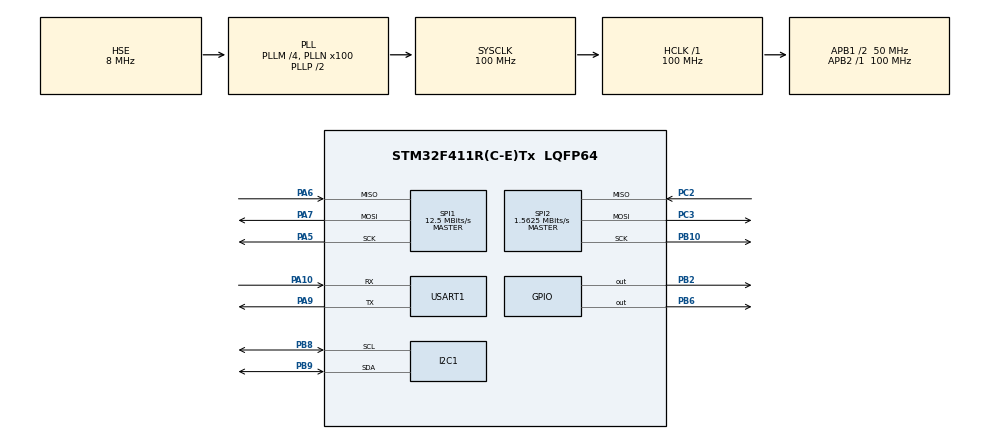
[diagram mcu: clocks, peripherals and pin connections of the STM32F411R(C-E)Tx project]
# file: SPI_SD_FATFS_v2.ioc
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Dma.I2C1_RX.0.Direction=DMA_PERIPH_TO_MEMORY
Dma.I2C1_RX.0.FIFOMode=DMA_FIFOMODE_DISABLE
Dma.I2C1_RX.0.Instance=DMA1_Stream0
Dma.I2C1_RX.0.MemDataAlignment=DMA_MDATAALIGN_BYTE
Dma.I2C1_RX.0.MemInc=DMA_MINC_ENABLE
Dma.I2C1_RX.0.Mode=DMA_NORMAL
Dma.I2C1_RX.0.PeriphDataAlignment=DMA_PDATAALIGN_BYTE
Dma.I2C1_RX.0.PeriphInc=DMA_PINC_DISABLE
Dma.I2C1_RX.0.Priority=DMA_PRIORITY_LOW
Dma.I2C1_TX.1.Direction=DMA_MEMORY_TO_PERIPH
Dma.I2C1_TX.1.FIFOMode=DMA_FIFOMODE_DISABLE
Dma.I2C1_TX.1.Instance=DMA1_Stream1
Dma.I2C1_TX.1.MemDataAlignment=DMA_MDATAALIGN_BYTE
Dma.I2C1_TX.1.MemInc=DMA_MINC_ENABLE
Dma.I2C1_TX.1.Mode=DMA_NORMAL
Dma.I2C1_TX.1.PeriphDataAlignment=DMA_PDATAALIGN_BYTE
Dma.I2C1_TX.1.PeriphInc=DMA_PINC_DISABLE
Dma.I2C1_TX.1.Priority=DMA_PRIORITY_LOW
Dma.Request0=I2C1_RX
Dma.Request1=I2C1_TX
FATFS._MAX_SS=4096
FATFS._USE_LFN=1
I2C1.I2C_Mode=I2C_Fast
Mcu.Family=STM32F4
Mcu.Name=STM32F411R(C-E)Tx
Mcu.Package=LQFP64
NVIC.DMA1_Stream0_IRQn=true\:0\:0\:false\:false\:true\:false\:true
NVIC.DMA1_Stream1_IRQn=true\:0\:0\:false\:false\:true\:false\:true
NVIC.I2C1_ER_IRQn=true\:0\:0\:false\:false\:true\:true\:true
NVIC.I2C1_EV_IRQn=true\:0\:0\:false\:false\:true\:true\:true
NVIC.PriorityGroup=NVIC_PRIORITYGROUP_4
NVIC.USART1_IRQn=true\:0\:0\:false\:false\:true\:true\:true
PA10.Mode=Asynchronous
PA10.Signal=USART1_RX
PA13.Mode=Serial_Wire
PA13.Signal=SYS_JTMS-SWDIO
PA14.Mode=Serial_Wire
PA14.Signal=SYS_JTCK-SWCLK
PA5.Mode=Full_Duplex_Master
PA5.Signal=SPI1_SCK
PA6.Mode=Full_Duplex_Master
PA6.Signal=SPI1_MISO
PA7.Mode=Full_Duplex_Master
PA7.Signal=SPI1_MOSI
PA9.Mode=Asynchronous
PA9.Signal=USART1_TX
PB10.Mode=Full_Duplex_Master
PB10.Signal=SPI2_SCK
PB2.Signal=GPIO_Output
PB6.Signal=GPIO_Output
PB8.Mode=I2C
PB8.Signal=I2C1_SCL
PB9.Mode=I2C
PB9.Signal=I2C1_SDA
PC2.Mode=Full_Duplex_Master
PC2.Signal=SPI2_MISO
PC3.Mode=Full_Duplex_Master
PC3.Signal=SPI2_MOSI
PH0\ -\ OSC_IN.Mode=HSE-External-Oscillator
PH0\ -\ OSC_IN.Signal=RCC_OSC_IN
PH1\ -\ OSC_OUT.Mode=HSE-External-Oscillator
PH1\ -\ OSC_OUT.Signal=RCC_OSC_OUT
ProjectManager.HeapSize=0x400
ProjectManager.StackSize=0x800
ProjectManager.TargetToolchain=STM32CubeIDE
RCC.48MHZClocksFreq_Value=50000000
RCC.AHBFreq_Value=100000000
RCC.APB1CLKDivider=RCC_HCLK_DIV2
RCC.APB1Freq_Value=50000000
RCC.APB1TimFreq_Value=100000000
RCC.APB2Freq_Value=100000000
RCC.APB2TimFreq_Value=100000000
RCC.CortexFreq_Value=100000000
RCC.HCLKFreq_Value=100000000
RCC.HSE_VALUE=8000000
RCC.HSI_VALUE=16000000
RCC.LSE_VALUE=32768
RCC.PLLM=4
RCC.PLLN=100
RCC.PLLSourceVirtual=RCC_PLLSOURCE_HSE
RCC.SYSCLKFreq_VALUE=100000000
RCC.SYSCLKSource=RCC_SYSCLKSOURCE_PLLCLK
RCC.VCOOutputFreq_Value=200000000
SPI1.BaudRatePrescaler=SPI_BAUDRATEPRESCALER_8
SPI1.CalculateBaudRate=12.5 MBits/s
SPI1.Direction=SPI_DIRECTION_2LINES
SPI1.Mode=SPI_MODE_MASTER
SPI1.VirtualType=VM_MASTER
SPI2.BaudRatePrescaler=SPI_BAUDRATEPRESCALER_32
SPI2.CLKPhase=SPI_PHASE_2EDGE
SPI2.CLKPolarity=SPI_POLARITY_HIGH
SPI2.CalculateBaudRate=1.5625 MBits/s
SPI2.Direction=SPI_DIRECTION_2LINES
SPI2.Mode=SPI_MODE_MASTER
SPI2.VirtualType=VM_MASTER
USART1.VirtualMode=VM_ASYNC
VP_FATFS_VS_Generic.Mode=User_defined
board=custom

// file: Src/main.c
/* USER CODE BEGIN Header */
/**
 ******************************************************************************
 * @file           : main.c
 * @brief          : Main program body
 ******************************************************************************
 * @attention
 *
 * <h2><center>&copy; Copyright (c) 2021 STMicroelectronics.
 * All rights reserved.</center></h2>
 *
 * This software component is licensed by ST under Ultimate Liberty license
 * SLA0044, the "License"; You may not use this file except in compliance with
 * the License. You may obtain a copy of the License at:
 *                             www.st.com/SLA0044
 *
 ******************************************************************************
 */
/* USER CODE END Header */
#include "main.h"
#include "fatfs.h"

/* USER CODE BEGIN Includes */
#include "fatfs_sd.h"
#include <string.h>
#include <stdio.h>
/* USER CODE END Includes */

/* USER CODE BEGIN PM */
#define DEBUG_OUT	0
/* USER CODE END PM */

I2C_HandleTypeDef hi2c1;
DMA_HandleTypeDef hdma_i2c1_rx;
DMA_HandleTypeDef hdma_i2c1_tx;

SPI_HandleTypeDef hspi1;
SPI_HandleTypeDef hspi2;

UART_HandleTypeDef huart1;

void SystemClock_Config(void);
static void MX_GPIO_Init(void);
static void MX_SPI1_Init(void);
static void MX_USART1_UART_Init(void);
static void MX_DMA_Init(void);
static void MX_I2C1_Init(void);
static void MX_SPI2_Init(void);

/* USER CODE BEGIN 0 */
FATFS 		fs;
FATFS 		*pfs;
FIL 		fil;
FILINFO 	fno;
FRESULT 	fresult;
UINT 		br,
			bw;
DWORD 		free_cluster;
uint32_t 	total_space,
			free_space;

#define BUFFERSIZE			256
#define ADXL345_DATA		0x32
#define ADXL345_FORMAT_DATA	0x31
#define ADXL345_R4G			0x01
#define ADXL345_PWR_CTL		0x2D
#define ADXL345_CLEAR		0x00
#define ADXL345_MEASURE		0x08
#define SPI_TIMEOUT			100

char 		buffer[BUFFERSIZE];
uint8_t 	data[6];
uint16_t 	gX,
			gY,
			gZ;
float 		fgX,
			fgY,
			fgZ;

uint32_t 	gCounter = 0;

int bufsize(char *buf);
void bufsend(char *msg);

void ADXL345_Init();
void ADXL345_Write(uint8_t address, uint8_t value);
void ADXL345_Read(uint8_t address);

uint8_t byte;
volatile uint8_t gStopped = 1;

/* USER CODE END 0 */

int main(void)
{

	/* MCU Configuration--------------------------------------------------------*/

	/* Reset of all peripherals, Initializes the Flash interface and the Systick. */
	HAL_Init();

	/* Configure the system clock */
	SystemClock_Config();

	/* Initialize all configured peripherals */
	MX_GPIO_Init();
	MX_SPI1_Init();
	MX_USART1_UART_Init();
	MX_FATFS_Init();
	MX_DMA_Init();
	MX_I2C1_Init();
	MX_SPI2_Init();
	/* USER CODE BEGIN 2 */

	fresult = f_mount(&fs, "", 0);
	if (fresult != FR_OK) {
		sprintf(buffer, "Error mounting SD card...\r\n");
		bufsend(buffer);
		while (1) ;
	}
	else {
		bufsend("SD card mounted successfully!\r\n");
	}

	//
	fresult = f_getfree("", &free_cluster, &pfs);
	if (fresult != FR_OK) {
		sprintf(buffer, "FS: f_getfree() failed. FRESULT: %d\r\n", fresult);
		bufsend(buffer);
		while (1) ;
	}

	total_space = (pfs->n_fatent - 2) * pfs->csize;
	free_space = free_cluster * pfs->csize;

	sprintf(buffer, "FS: %lu KB total drive space.\r\n %lu KB available.\r\n",
			free_space / 2,
			total_space / 2);
	bufsend(buffer);

	fresult = f_open(&fil, "measure.txt", FA_CREATE_ALWAYS | FA_WRITE);

	ADXL345_Init();

	HAL_UART_Receive_IT(&huart1, &byte, 1);

	/* USER CODE END 2 */

	/* Infinite loop */
	/* USER CODE BEGIN WHILE */
	while (gStopped)
	{
		/* USER CODE END WHILE */

		/* USER CODE BEGIN 3 */
		ADXL345_Read(ADXL345_DATA);

		gX = ((data[1] << 8) | data[0]);
		gY = ((data[3] << 8) | data[2]);
		gZ = ((data[5] << 8) | data[4]);

		fgX = gX * 0.0078;
		fgY = gY * 0.0078;
		fgZ = gZ * 0.0078;

		sprintf(buffer, "id=%d, X=%5d, Y=%5d, Z=%5d, fX = %f, fY=%f, fZ=%f\r\n",
				gCounter,
				gX,
				gY,
				gZ,
				fgX,
				fgY,
				fgZ);
		fresult = f_write(&fil, buffer, bufsize(buffer), &bw);
		if (fresult != FR_OK) {
			sprintf(buffer, "f_write() not written\r\n");
			bufsend(buffer);
			break;
		}

#if DEBUG_OUT
		bufsend(buffer);
		if((gCounter+1) % 1000 == 0) {
			sprintf(buffer, "gCounter = %d\r\n", gCounter);
			bufsend(buffer);
		}
#endif

		if ((gCounter+1) % 100000 == 0) {
			break;
		}

		HAL_Delay(1);
		gCounter++;

	}

	f_close(&fil);

	fresult = f_mount(NULL, "/", 1);
	if (fresult == FR_OK)
		bufsend("SD Card umounted successfully!\r\n");
	/* USER CODE END 3 */
}

void SystemClock_Config(void)
{
	RCC_OscInitTypeDef RCC_OscInitStruct = {0};
	RCC_ClkInitTypeDef RCC_ClkInitStruct = {0};

	/** Configure the main internal regulator output voltage
	 */
	__HAL_RCC_PWR_CLK_ENABLE();
	__HAL_PWR_VOLTAGESCALING_CONFIG(PWR_REGULATOR_VOLTAGE_SCALE1);
	/** Initializes the RCC Oscillators according to the specified parameters
	 * in the RCC_OscInitTypeDef structure.
	 */
	RCC_OscInitStruct.OscillatorType = RCC_OSCILLATORTYPE_HSE;
	RCC_OscInitStruct.HSEState = RCC_HSE_ON;
	RCC_OscInitStruct.PLL.PLLState = RCC_PLL_ON;
	RCC_OscInitStruct.PLL.PLLSource = RCC_PLLSOURCE_HSE;
	RCC_OscInitStruct.PLL.PLLM = 4;
	RCC_OscInitStruct.PLL.PLLN = 100;
	RCC_OscInitStruct.PLL.PLLP = RCC_PLLP_DIV2;
	RCC_OscInitStruct.PLL.PLLQ = 4;
	if (HAL_RCC_OscConfig(&RCC_OscInitStruct) != HAL_OK)
	{
		Error_Handler();
	}
	/** Initializes the CPU, AHB and APB buses clocks
	 */
	RCC_ClkInitStruct.ClockType = RCC_CLOCKTYPE_HCLK|RCC_CLOCKTYPE_SYSCLK
			|RCC_CLOCKTYPE_PCLK1|RCC_CLOCKTYPE_PCLK2;
	RCC_ClkInitStruct.SYSCLKSource = RCC_SYSCLKSOURCE_PLLCLK;
	RCC_ClkInitStruct.AHBCLKDivider = RCC_SYSCLK_DIV1;
	RCC_ClkInitStruct.APB1CLKDivider = RCC_HCLK_DIV2;
	RCC_ClkInitStruct.APB2CLKDivider = RCC_HCLK_DIV1;

	if (HAL_RCC_ClockConfig(&RCC_ClkInitStruct, FLASH_LATENCY_3) != HAL_OK)
	{
		Error_Handler();
	}
}

static void MX_I2C1_Init(void)
{

	hi2c1.Instance = I2C1;
	hi2c1.Init.ClockSpeed = 400000;
	hi2c1.Init.DutyCycle = I2C_DUTYCYCLE_2;
	hi2c1.Init.OwnAddress1 = 0;
	hi2c1.Init.AddressingMode = I2C_ADDRESSINGMODE_7BIT;
	hi2c1.Init.DualAddressMode = I2C_DUALADDRESS_DISABLE;
	hi2c1.Init.OwnAddress2 = 0;
	hi2c1.Init.GeneralCallMode = I2C_GENERALCALL_DISABLE;
	hi2c1.Init.NoStretchMode = I2C_NOSTRETCH_DISABLE;
	if (HAL_I2C_Init(&hi2c1) != HAL_OK)
	{
		Error_Handler();
	}

}

static void MX_SPI1_Init(void)
{

	/* SPI1 parameter configuration*/
	hspi1.Instance = SPI1;
	hspi1.Init.Mode = SPI_MODE_MASTER;
	hspi1.Init.Direction = SPI_DIRECTION_2LINES;
	hspi1.Init.DataSize = SPI_DATASIZE_8BIT;
	hspi1.Init.CLKPolarity = SPI_POLARITY_LOW;
	hspi1.Init.CLKPhase = SPI_PHASE_1EDGE;
	hspi1.Init.NSS = SPI_NSS_SOFT;
	hspi1.Init.BaudRatePrescaler = SPI_BAUDRATEPRESCALER_8;
	hspi1.Init.FirstBit = SPI_FIRSTBIT_MSB;
	hspi1.Init.TIMode = SPI_TIMODE_DISABLE;
	hspi1.Init.CRCCalculation = SPI_CRCCALCULATION_DISABLE;
	hspi1.Init.CRCPolynomial = 10;
	if (HAL_SPI_Init(&hspi1) != HAL_OK)
	{
		Error_Handler();
	}

}

static void MX_SPI2_Init(void)
{

	/* SPI2 parameter configuration*/
	hspi2.Instance = SPI2;
	hspi2.Init.Mode = SPI_MODE_MASTER;
	hspi2.Init.Direction = SPI_DIRECTION_2LINES;
	hspi2.Init.DataSize = SPI_DATASIZE_8BIT;
	hspi2.Init.CLKPolarity = SPI_POLARITY_HIGH;
	hspi2.Init.CLKPhase = SPI_PHASE_2EDGE;
	hspi2.Init.NSS = SPI_NSS_SOFT;
	hspi2.Init.BaudRatePrescaler = SPI_BAUDRATEPRESCALER_32;
	hspi2.Init.FirstBit = SPI_FIRSTBIT_MSB;
	hspi2.Init.TIMode = SPI_TIMODE_DISABLE;
	hspi2.Init.CRCCalculation = SPI_CRCCALCULATION_DISABLE;
	hspi2.Init.CRCPolynomial = 10;
	if (HAL_SPI_Init(&hspi2) != HAL_OK)
	{
		Error_Handler();
	}

}

static void MX_USART1_UART_Init(void)
{

	huart1.Instance = USART1;
	huart1.Init.BaudRate = 115200;
	huart1.Init.WordLength = UART_WORDLENGTH_8B;
	huart1.Init.StopBits = UART_STOPBITS_1;
	huart1.Init.Parity = UART_PARITY_NONE;
	huart1.Init.Mode = UART_MODE_TX_RX;
	huart1.Init.HwFlowCtl = UART_HWCONTROL_NONE;
	huart1.Init.OverSampling = UART_OVERSAMPLING_16;
	if (HAL_UART_Init(&huart1) != HAL_OK)
	{
		Error_Handler();
	}

}

static void MX_DMA_Init(void)
{

	/* DMA controller clock enable */
	__HAL_RCC_DMA1_CLK_ENABLE();

	/* DMA interrupt init */
	/* DMA1_Stream0_IRQn interrupt configuration */
	HAL_NVIC_SetPriority(DMA1_Stream0_IRQn, 0, 0);
	HAL_NVIC_EnableIRQ(DMA1_Stream0_IRQn);
	/* DMA1_Stream1_IRQn interrupt configuration */
	HAL_NVIC_SetPriority(DMA1_Stream1_IRQn, 0, 0);
	HAL_NVIC_EnableIRQ(DMA1_Stream1_IRQn);

}

static void MX_GPIO_Init(void)
{
	GPIO_InitTypeDef GPIO_InitStruct = {0};

	/* GPIO Ports Clock Enable */
	__HAL_RCC_GPIOH_CLK_ENABLE();
	__HAL_RCC_GPIOC_CLK_ENABLE();
	__HAL_RCC_GPIOA_CLK_ENABLE();
	__HAL_RCC_GPIOB_CLK_ENABLE();

	/*Configure GPIO pin Output Level */
	HAL_GPIO_WritePin(GPIOB, GPIO_PIN_2|GPIO_PIN_6, GPIO_PIN_RESET);

	/*Configure GPIO pins : PB2 PB6 */
	GPIO_InitStruct.Pin = GPIO_PIN_2|GPIO_PIN_6;
	GPIO_InitStruct.Mode = GPIO_MODE_OUTPUT_PP;
	GPIO_InitStruct.Pull = GPIO_NOPULL;
	GPIO_InitStruct.Speed = GPIO_SPEED_FREQ_LOW;
	HAL_GPIO_Init(GPIOB, &GPIO_InitStruct);

}

/* USER CODE BEGIN 4 */
int bufsize(char *buf) {
	int i=0;
	while (*buf++ != '\0') i++;
	return i;
}

void bufsend(char *msg) {
	uint16_t length = strlen(msg);
	HAL_UART_Transmit(&huart1, (uint8_t *)msg, length, 10);
}

void ADXL345_Init()
{
	ADXL345_Write(ADXL345_FORMAT_DATA, ADXL345_R4G);
	ADXL345_Write(ADXL345_PWR_CTL, ADXL345_CLEAR);
	ADXL345_Write(ADXL345_PWR_CTL, ADXL345_MEASURE);
}

void ADXL345_Write(uint8_t address, uint8_t value)
{
	uint8_t data[2];

	data[0] = address | 0x40;
	data[1] = value;

	HAL_GPIO_WritePin(GPIOB, GPIO_PIN_2, GPIO_PIN_RESET);
	HAL_SPI_Transmit(&hspi2, data, 2, SPI_TIMEOUT);
	HAL_GPIO_WritePin(GPIOB, GPIO_PIN_2, GPIO_PIN_SET);
}

void ADXL345_Read(uint8_t address)
{
	address |= 0x80;
	address |= 0x40;

	HAL_GPIO_WritePin(GPIOB, GPIO_PIN_2, GPIO_PIN_RESET);
	HAL_SPI_Transmit(&hspi2, &address, 1, SPI_TIMEOUT);
	HAL_SPI_Receive(&hspi2, data, 6, SPI_TIMEOUT);
	HAL_GPIO_WritePin(GPIOB, GPIO_PIN_2, GPIO_PIN_SET);
}

void HAL_UART_RxCpltCallback(UART_HandleTypeDef *huart)
{
	if (huart->Instance == USART1)
	{
		if ((byte == (uint8_t)'Q') | (byte == (uint8_t)'q'))
		{
			gStopped = 0;
		}
	}
}

/* USER CODE END 4 */

void Error_Handler(void)
{
	__disable_irq();
	while (1)
	{
	}
}

/************************ (C) COPYRIGHT STMicroelectronics *****END OF FILE****/
